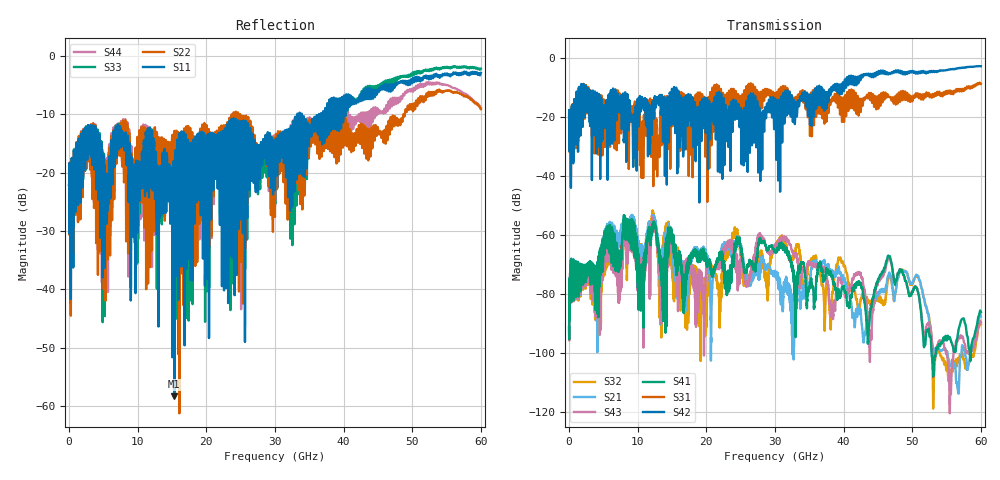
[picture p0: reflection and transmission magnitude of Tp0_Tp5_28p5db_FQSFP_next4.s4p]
!4 port subset of full cascaded channels using these ports:57 37 58 38
# Hz S RI R 50
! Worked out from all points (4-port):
!   6000 points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, 10 MHz to 60 GHz, reference 50 ohm
!   strongest paths, dB at 10 MHz, 15.01 GHz, 30.01 GHz, 45.01 GHz, 60 GHz:
!     S42: -20.0, -10.7, -13.8, -5.2, -2.7
!     S31: -20.0, -21.8, -12.0, -16.2, -8.6
!     S41: -91.0, -59.8, -65.7, -75.0, -86.0
!     S43: -91.2, -62.2, -64.1, -75.7, -89.4
!     S21: -90.9, -61.7, -72.8, -79.5, -87.5
!     S32: -91.1, -67.9, -63.9, -80.3, -90.1
!   lowest |S11| = -58.3 dB at 15.34 GHz (marker M1), VSWR 1.00, Z = 50 - j0.119 ohm
!   |S11| at or under -10 dB: start of sweep to 33.26 GHz; 33.29 GHz to 33.56 GHz (268.2 MHz wide, 0.802 % of centre); 33.9 GHz to 36.4 GHz (2.497 GHz wide, 7.1 % of centre)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
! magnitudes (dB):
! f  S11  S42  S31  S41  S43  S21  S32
! 10 MHz  -22.1  -20.0  -20.0  -91.0  -91.2  -90.9  -91.1
! 12.26 GHz  -20.5  -15.0  -34.7  -56.5  -55.7  -53.9  -52.9
! 15.34 GHz  -58.3  -10.0  -19.5  -67.7  -66.8  -73.9  -74.0
! 21.92 GHz  -16.7  -13.3  -15.9  -66.4  -70.7  -68.2  -91.0
! 24.31 GHz  -11.3  -14.5  -11.4  -64.0  -71.1  -65.0  -60.1
! 25.6 GHz  -21.5  -16.7  -11.7  -72.4  -73.6  -70.9  -73.5
! 60 GHz  -2.9  -2.7  -8.6  -86.0  -89.4  -87.5  -90.1
